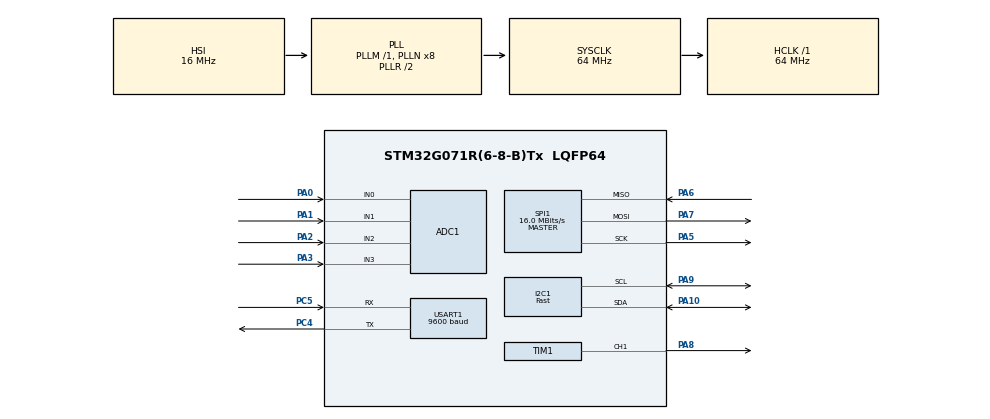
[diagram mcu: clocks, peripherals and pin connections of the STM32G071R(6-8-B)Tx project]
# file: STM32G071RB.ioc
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ADC1.Channel-0\#ChannelRegularConversion=ADC_CHANNEL_0
ADC1.Channel-1\#ChannelRegularConversion=ADC_CHANNEL_0
ADC1.Channel-2\#ChannelRegularConversion=ADC_CHANNEL_0
ADC1.Channel-3\#ChannelRegularConversion=ADC_CHANNEL_0
ADC1.ContinuousConvMode=ENABLE
ADC1.DMAContinuousRequests=ENABLE
ADC1.EOCSelection=ADC_EOC_SEQ_CONV
ADC1.NbrOfConversion=4
ADC1.NbrOfConversionFlag=1
ADC1.Rank-0\#ChannelRegularConversion=1
ADC1.Rank-1\#ChannelRegularConversion=2
ADC1.Rank-2\#ChannelRegularConversion=3
ADC1.Rank-3\#ChannelRegularConversion=4
ADC1.SamplingTime-0\#ChannelRegularConversion=ADC_SAMPLINGTIME_COMMON_1
ADC1.SamplingTime-1\#ChannelRegularConversion=ADC_SAMPLINGTIME_COMMON_1
ADC1.SamplingTime-2\#ChannelRegularConversion=ADC_SAMPLINGTIME_COMMON_1
ADC1.SamplingTime-3\#ChannelRegularConversion=ADC_SAMPLINGTIME_COMMON_1
ADC1.SelectedChannel=ADC_CHANNEL_0|ADC_CHANNEL_1|ADC_CHANNEL_2|ADC_CHANNEL_3
ADC1.master=1
Dma.ADC1.0.Direction=DMA_PERIPH_TO_MEMORY
Dma.ADC1.0.EventEnable=DISABLE
Dma.ADC1.0.Instance=DMA1_Channel1
Dma.ADC1.0.MemDataAlignment=DMA_MDATAALIGN_WORD
Dma.ADC1.0.MemInc=DMA_MINC_ENABLE
Dma.ADC1.0.Mode=DMA_CIRCULAR
Dma.ADC1.0.PeriphDataAlignment=DMA_PDATAALIGN_WORD
Dma.ADC1.0.PeriphInc=DMA_PINC_DISABLE
Dma.ADC1.0.Polarity=HAL_DMAMUX_REQ_GEN_RISING
Dma.ADC1.0.Priority=DMA_PRIORITY_MEDIUM
Dma.ADC1.0.RequestNumber=1
Dma.ADC1.0.SignalID=NONE
Dma.ADC1.0.SyncEnable=DISABLE
Dma.ADC1.0.SyncPolarity=HAL_DMAMUX_SYNC_NO_EVENT
Dma.ADC1.0.SyncRequestNumber=1
Dma.ADC1.0.SyncSignalID=NONE
Dma.Request0=ADC1
I2C1.I2C_Speed_Mode=I2C_Fast
I2C1.Timing=0x00602173
Mcu.Family=STM32G0
Mcu.Name=STM32G071R(6-8-B)Tx
Mcu.Package=LQFP64
NVIC.ADC1_COMP_IRQn=true\:0\:0\:false\:false\:true\:true\:true
NVIC.DMA1_Channel1_IRQn=true\:0\:0\:false\:false\:true\:false\:true
NVIC.I2C1_IRQn=true\:0\:0\:false\:false\:true\:true\:true
NVIC.SPI1_IRQn=true\:0\:0\:false\:false\:true\:true\:true
NVIC.TIM1_BRK_UP_TRG_COM_IRQn=true\:0\:0\:false\:false\:true\:true\:true
NVIC.TIM1_CC_IRQn=true\:0\:0\:false\:false\:true\:true\:true
NVIC.TIM3_IRQn=true\:0\:0\:false\:false\:true\:true\:true
NVIC.USART1_IRQn=true\:0\:0\:false\:false\:true\:true\:true
PA0.Mode=IN0
PA0.Signal=ADC1_IN0
PA1.Mode=IN1
PA1.Signal=ADC1_IN1
PA10.Mode=I2C
PA10.Signal=I2C1_SDA
PA13.Mode=Serial_Wire
PA13.Signal=SYS_SWDIO
PA14-BOOT0.Mode=Serial_Wire
PA14-BOOT0.Signal=SYS_SWCLK
PA2.Mode=IN2
PA2.Signal=ADC1_IN2
PA3.Mode=IN3
PA3.Signal=ADC1_IN3
PA5.Mode=Full_Duplex_Master
PA5.Signal=SPI1_SCK
PA6.Mode=Full_Duplex_Master
PA6.Signal=SPI1_MISO
PA7.Mode=Full_Duplex_Master
PA7.Signal=SPI1_MOSI
PA8.Signal=S_TIM1_CH1
PA9.Mode=I2C
PA9.Signal=I2C1_SCL
PC4.Mode=Asynchronous
PC4.Signal=USART1_TX
PC5.Mode=Asynchronous
PC5.Signal=USART1_RX
PF0-OSC_IN\ (PF0).Mode=HSE-External-Clock-Source
PF0-OSC_IN\ (PF0).Signal=RCC_OSC_IN
ProjectManager.HeapSize=0x200
ProjectManager.StackSize=0x400
ProjectManager.TargetToolchain=MDK-ARM V5
RCC.ADCFreq_Value=64000000
RCC.AHBFreq_Value=64000000
RCC.CortexFreq_Value=64000000
RCC.EXTERNAL_CLOCK_VALUE=48000
RCC.HCLKFreq_Value=64000000
RCC.HSE_VALUE=8000000
RCC.HSI_VALUE=16000000
RCC.LSE_VALUE=32768
RCC.SYSCLKFreq_VALUE=64000000
RCC.SYSCLKSource=RCC_SYSCLKSOURCE_PLLCLK
RCC.VCOOutputFreq_Value=128000000
SH.S_TIM1_CH1.0=TIM1_CH1,PWM Generation1 CH1
SPI1.BaudRatePrescaler=SPI_BAUDRATEPRESCALER_4
SPI1.CalculateBaudRate=16.0 MBits/s
SPI1.Direction=SPI_DIRECTION_2LINES
SPI1.Mode=SPI_MODE_MASTER
SPI1.VirtualType=VM_MASTER
TIM1.Channel-PWM\ Generation1\ CH1=TIM_CHANNEL_1
TIM1.Period=999
TIM1.Prescaler=159
TIM1.TIM_MasterOutputTrigger=TIM_TRGO_UPDATE
TIM1.TIM_MasterOutputTrigger2=TIM_TRGO2_UPDATE
TIM3.Period=100
TIM3.Prescaler=1599
TIM3.TIM_MasterOutputTrigger=TIM_TRGO_UPDATE
USART1.BaudRate=9600
USART1.VirtualMode-Asynchronous=VM_ASYNC
VP_SYS_VS_DBSignals.Mode=DisableDeadBatterySignals
VP_TIM3_VS_ClockSourceINT.Mode=Internal
board=custom

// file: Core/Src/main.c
/* USER CODE BEGIN Header */
/**
  ******************************************************************************
  * @file           : main.c
  * @brief          : Main program body
  ******************************************************************************
  * @attention
  *
  * <h2><center>&copy; Copyright (c) 2022 STMicroelectronics.
  * All rights reserved.</center></h2>
  *
  * This software component is licensed by ST under BSD 3-Clause license,
  * the "License"; You may not use this file except in compliance with the
  * License. You may obtain a copy of the License at:
  *                        opensource.org/licenses/BSD-3-Clause
  *
  ******************************************************************************
  */
/* USER CODE END Header */
#include "main.h"

/* USER CODE BEGIN PD */
#include "string.h"

/* USER CODE END PD */

ADC_HandleTypeDef hadc1;
DMA_HandleTypeDef hdma_adc1;

I2C_HandleTypeDef hi2c1;

SPI_HandleTypeDef hspi1;

TIM_HandleTypeDef htim1;
TIM_HandleTypeDef htim3;

UART_HandleTypeDef huart1;

/* USER CODE BEGIN PV */
uint32_t data[4];
uint32_t adcbuffer[4];
char data1[8]="";
char veri[8]="";
int sayi;
char buffer_tx[8]="";
char buffer_rx[8]="";

/* USER CODE END PV */

void SystemClock_Config(void);
static void MX_GPIO_Init(void);
static void MX_DMA_Init(void);
static void MX_ADC1_Init(void);
static void MX_I2C1_Init(void);
static void MX_SPI1_Init(void);
static void MX_TIM1_Init(void);
static void MX_TIM3_Init(void);
static void MX_USART1_UART_Init(void);
/* USER CODE BEGIN PFP */
void HAL_ADC_ConvCpltCallback(ADC_HandleTypeDef*hadc)
{
	if(hadc->Instance==ADC1)
	{
		data[0] = adcbuffer[0];
		data[1] = adcbuffer[1];
		data[2] = adcbuffer[2];
		data[3] = adcbuffer[3];
	}
}

/* USER CODE END PFP */

int main(void)
{

  /* MCU Configuration--------------------------------------------------------*/

  /* Reset of all peripherals, Initializes the Flash interface and the Systick. */
  HAL_Init();

  /* Configure the system clock */
  SystemClock_Config();

  /* Initialize all configured peripherals */
  MX_GPIO_Init();
  MX_DMA_Init();
  MX_ADC1_Init();
  MX_I2C1_Init();
  MX_SPI1_Init();
  MX_TIM1_Init();
  MX_TIM3_Init();
  MX_USART1_UART_Init();
  /* USER CODE BEGIN 2 */
HAL_ADC_Start_DMA(&hadc1, adcbuffer,4);
HAL_TIM_PWM_Start(&htim1,TIM_CHANNEL_1);
HAL_TIM_Base_Start_IT(&htim3);

  /* USER CODE END 2 */

  /* Infinite loop */
  while (1)
  {

    /* USER CODE BEGIN 3 */
		//uart
		sayi++;
		sprintf(data1,"\f%d\n\r", sayi);
		HAL_UART_Transmit(&huart1, (uint8_t*)data1, strlen(data1),1000);
		HAL_Delay(1000);

		HAL_UART_Receive(&huart1,(uint8_t*)veri,8,200);
		if(veri=="1")
		{
		}
		//pwm
		__HAL_TIM_SET_COMPARE(&htim1, TIM_CHANNEL_1, 200);

		//i2c
		HAL_I2C_Mem_Write(&hi2c1, 0x15, 0x45, 8, (uint8_t*)veri, 20,1);
		HAL_I2C_Mem_Read(&hi2c1, 0x45, 0x12, 8, (uint8_t*)veri, 20,1);

		//spi
		HAL_SPI_TransmitReceive(&hspi1, buffer_tx, buffer_rx,10,1000);
  }

  /* USER CODE END 3 */
}

void SystemClock_Config(void)
{
  RCC_OscInitTypeDef RCC_OscInitStruct = {0};
  RCC_ClkInitTypeDef RCC_ClkInitStruct = {0};
  RCC_PeriphCLKInitTypeDef PeriphClkInit = {0};

  /** Configure the main internal regulator output voltage
  */
  HAL_PWREx_ControlVoltageScaling(PWR_REGULATOR_VOLTAGE_SCALE1);
  /** Initializes the RCC Oscillators according to the specified parameters
  * in the RCC_OscInitTypeDef structure.
  */
  RCC_OscInitStruct.OscillatorType = RCC_OSCILLATORTYPE_HSI;
  RCC_OscInitStruct.HSIState = RCC_HSI_ON;
  RCC_OscInitStruct.HSIDiv = RCC_HSI_DIV1;
  RCC_OscInitStruct.HSICalibrationValue = RCC_HSICALIBRATION_DEFAULT;
  RCC_OscInitStruct.PLL.PLLState = RCC_PLL_ON;
  RCC_OscInitStruct.PLL.PLLSource = RCC_PLLSOURCE_HSI;
  RCC_OscInitStruct.PLL.PLLM = RCC_PLLM_DIV1;
  RCC_OscInitStruct.PLL.PLLN = 8;
  RCC_OscInitStruct.PLL.PLLP = RCC_PLLP_DIV2;
  RCC_OscInitStruct.PLL.PLLQ = RCC_PLLQ_DIV2;
  RCC_OscInitStruct.PLL.PLLR = RCC_PLLR_DIV2;
  if (HAL_RCC_OscConfig(&RCC_OscInitStruct) != HAL_OK)
  {
    Error_Handler();
  }
  /** Initializes the CPU, AHB and APB buses clocks
  */
  RCC_ClkInitStruct.ClockType = RCC_CLOCKTYPE_HCLK|RCC_CLOCKTYPE_SYSCLK
                              |RCC_CLOCKTYPE_PCLK1;
  RCC_ClkInitStruct.SYSCLKSource = RCC_SYSCLKSOURCE_PLLCLK;
  RCC_ClkInitStruct.AHBCLKDivider = RCC_SYSCLK_DIV1;
  RCC_ClkInitStruct.APB1CLKDivider = RCC_HCLK_DIV1;

  if (HAL_RCC_ClockConfig(&RCC_ClkInitStruct, FLASH_LATENCY_2) != HAL_OK)
  {
    Error_Handler();
  }
  /** Initializes the peripherals clocks
  */
  PeriphClkInit.PeriphClockSelection = RCC_PERIPHCLK_USART1|RCC_PERIPHCLK_I2C1
                              |RCC_PERIPHCLK_ADC|RCC_PERIPHCLK_TIM1;
  PeriphClkInit.Usart1ClockSelection = RCC_USART1CLKSOURCE_PCLK1;
  PeriphClkInit.I2c1ClockSelection = RCC_I2C1CLKSOURCE_PCLK1;
  PeriphClkInit.AdcClockSelection = RCC_ADCCLKSOURCE_SYSCLK;
  PeriphClkInit.Tim1ClockSelection = RCC_TIM1CLKSOURCE_PCLK1;
  if (HAL_RCCEx_PeriphCLKConfig(&PeriphClkInit) != HAL_OK)
  {
    Error_Handler();
  }
}

static void MX_ADC1_Init(void)
{

  ADC_ChannelConfTypeDef sConfig = {0};

  /** Configure the global features of the ADC (Clock, Resolution, Data Alignment and number of conversion)
  */
  hadc1.Instance = ADC1;
  hadc1.Init.ClockPrescaler = ADC_CLOCK_SYNC_PCLK_DIV4;
  hadc1.Init.Resolution = ADC_RESOLUTION_12B;
  hadc1.Init.DataAlign = ADC_DATAALIGN_RIGHT;
  hadc1.Init.ScanConvMode = ADC_SCAN_ENABLE;
  hadc1.Init.EOCSelection = ADC_EOC_SEQ_CONV;
  hadc1.Init.LowPowerAutoWait = DISABLE;
  hadc1.Init.LowPowerAutoPowerOff = DISABLE;
  hadc1.Init.ContinuousConvMode = ENABLE;
  hadc1.Init.NbrOfConversion = 4;
  hadc1.Init.DiscontinuousConvMode = DISABLE;
  hadc1.Init.ExternalTrigConv = ADC_SOFTWARE_START;
  hadc1.Init.ExternalTrigConvEdge = ADC_EXTERNALTRIGCONVEDGE_NONE;
  hadc1.Init.DMAContinuousRequests = ENABLE;
  hadc1.Init.Overrun = ADC_OVR_DATA_PRESERVED;
  hadc1.Init.SamplingTimeCommon1 = ADC_SAMPLETIME_1CYCLE_5;
  hadc1.Init.SamplingTimeCommon2 = ADC_SAMPLETIME_1CYCLE_5;
  hadc1.Init.OversamplingMode = DISABLE;
  hadc1.Init.TriggerFrequencyMode = ADC_TRIGGER_FREQ_HIGH;
  if (HAL_ADC_Init(&hadc1) != HAL_OK)
  {
    Error_Handler();
  }
  /** Configure Regular Channel
  */
  sConfig.Channel = ADC_CHANNEL_0;
  sConfig.Rank = ADC_REGULAR_RANK_1;
  sConfig.SamplingTime = ADC_SAMPLINGTIME_COMMON_1;
  if (HAL_ADC_ConfigChannel(&hadc1, &sConfig) != HAL_OK)
  {
    Error_Handler();
  }
  /** Configure Regular Channel
  */
  sConfig.Rank = ADC_REGULAR_RANK_2;
  if (HAL_ADC_ConfigChannel(&hadc1, &sConfig) != HAL_OK)
  {
    Error_Handler();
  }
  /** Configure Regular Channel
  */
  sConfig.Rank = ADC_REGULAR_RANK_3;
  if (HAL_ADC_ConfigChannel(&hadc1, &sConfig) != HAL_OK)
  {
    Error_Handler();
  }
  /** Configure Regular Channel
  */
  sConfig.Rank = ADC_REGULAR_RANK_4;
  if (HAL_ADC_ConfigChannel(&hadc1, &sConfig) != HAL_OK)
  {
    Error_Handler();
  }

}

static void MX_I2C1_Init(void)
{

  hi2c1.Instance = I2C1;
  hi2c1.Init.Timing = 0x00602173;
  hi2c1.Init.OwnAddress1 = 0;
  hi2c1.Init.AddressingMode = I2C_ADDRESSINGMODE_7BIT;
  hi2c1.Init.DualAddressMode = I2C_DUALADDRESS_DISABLE;
  hi2c1.Init.OwnAddress2 = 0;
  hi2c1.Init.OwnAddress2Masks = I2C_OA2_NOMASK;
  hi2c1.Init.GeneralCallMode = I2C_GENERALCALL_DISABLE;
  hi2c1.Init.NoStretchMode = I2C_NOSTRETCH_DISABLE;
  if (HAL_I2C_Init(&hi2c1) != HAL_OK)
  {
    Error_Handler();
  }
  /** Configure Analogue filter
  */
  if (HAL_I2CEx_ConfigAnalogFilter(&hi2c1, I2C_ANALOGFILTER_ENABLE) != HAL_OK)
  {
    Error_Handler();
  }
  /** Configure Digital filter
  */
  if (HAL_I2CEx_ConfigDigitalFilter(&hi2c1, 0) != HAL_OK)
  {
    Error_Handler();
  }

}

static void MX_SPI1_Init(void)
{

  /* SPI1 parameter configuration*/
  hspi1.Instance = SPI1;
  hspi1.Init.Mode = SPI_MODE_MASTER;
  hspi1.Init.Direction = SPI_DIRECTION_2LINES;
  hspi1.Init.DataSize = SPI_DATASIZE_4BIT;
  hspi1.Init.CLKPolarity = SPI_POLARITY_LOW;
  hspi1.Init.CLKPhase = SPI_PHASE_1EDGE;
  hspi1.Init.NSS = SPI_NSS_SOFT;
  hspi1.Init.BaudRatePrescaler = SPI_BAUDRATEPRESCALER_4;
  hspi1.Init.FirstBit = SPI_FIRSTBIT_MSB;
  hspi1.Init.TIMode = SPI_TIMODE_DISABLE;
  hspi1.Init.CRCCalculation = SPI_CRCCALCULATION_DISABLE;
  hspi1.Init.CRCPolynomial = 7;
  hspi1.Init.CRCLength = SPI_CRC_LENGTH_DATASIZE;
  hspi1.Init.NSSPMode = SPI_NSS_PULSE_ENABLE;
  if (HAL_SPI_Init(&hspi1) != HAL_OK)
  {
    Error_Handler();
  }

}

static void MX_TIM1_Init(void)
{

  TIM_MasterConfigTypeDef sMasterConfig = {0};
  TIM_OC_InitTypeDef sConfigOC = {0};
  TIM_BreakDeadTimeConfigTypeDef sBreakDeadTimeConfig = {0};

  htim1.Instance = TIM1;
  htim1.Init.Prescaler = 159;
  htim1.Init.CounterMode = TIM_COUNTERMODE_UP;
  htim1.Init.Period = 999;
  htim1.Init.ClockDivision = TIM_CLOCKDIVISION_DIV1;
  htim1.Init.RepetitionCounter = 0;
  htim1.Init.AutoReloadPreload = TIM_AUTORELOAD_PRELOAD_DISABLE;
  if (HAL_TIM_PWM_Init(&htim1) != HAL_OK)
  {
    Error_Handler();
  }
  sMasterConfig.MasterOutputTrigger = TIM_TRGO_UPDATE;
  sMasterConfig.MasterOutputTrigger2 = TIM_TRGO2_UPDATE;
  sMasterConfig.MasterSlaveMode = TIM_MASTERSLAVEMODE_DISABLE;
  if (HAL_TIMEx_MasterConfigSynchronization(&htim1, &sMasterConfig) != HAL_OK)
  {
    Error_Handler();
  }
  sConfigOC.OCMode = TIM_OCMODE_PWM1;
  sConfigOC.Pulse = 0;
  sConfigOC.OCPolarity = TIM_OCPOLARITY_HIGH;
  sConfigOC.OCNPolarity = TIM_OCNPOLARITY_HIGH;
  sConfigOC.OCFastMode = TIM_OCFAST_DISABLE;
  sConfigOC.OCIdleState = TIM_OCIDLESTATE_RESET;
  sConfigOC.OCNIdleState = TIM_OCNIDLESTATE_RESET;
  if (HAL_TIM_PWM_ConfigChannel(&htim1, &sConfigOC, TIM_CHANNEL_1) != HAL_OK)
  {
    Error_Handler();
  }
  sBreakDeadTimeConfig.OffStateRunMode = TIM_OSSR_DISABLE;
  sBreakDeadTimeConfig.OffStateIDLEMode = TIM_OSSI_DISABLE;
  sBreakDeadTimeConfig.LockLevel = TIM_LOCKLEVEL_OFF;
  sBreakDeadTimeConfig.DeadTime = 0;
  sBreakDeadTimeConfig.BreakState = TIM_BREAK_DISABLE;
  sBreakDeadTimeConfig.BreakPolarity = TIM_BREAKPOLARITY_HIGH;
  sBreakDeadTimeConfig.BreakFilter = 0;
  sBreakDeadTimeConfig.BreakAFMode = TIM_BREAK_AFMODE_INPUT;
  sBreakDeadTimeConfig.Break2State = TIM_BREAK2_DISABLE;
  sBreakDeadTimeConfig.Break2Polarity = TIM_BREAK2POLARITY_HIGH;
  sBreakDeadTimeConfig.Break2Filter = 0;
  sBreakDeadTimeConfig.Break2AFMode = TIM_BREAK_AFMODE_INPUT;
  sBreakDeadTimeConfig.AutomaticOutput = TIM_AUTOMATICOUTPUT_DISABLE;
  if (HAL_TIMEx_ConfigBreakDeadTime(&htim1, &sBreakDeadTimeConfig) != HAL_OK)
  {
    Error_Handler();
  }
  HAL_TIM_MspPostInit(&htim1);

}

static void MX_TIM3_Init(void)
{

  TIM_ClockConfigTypeDef sClockSourceConfig = {0};
  TIM_MasterConfigTypeDef sMasterConfig = {0};

  htim3.Instance = TIM3;
  htim3.Init.Prescaler = 1599;
  htim3.Init.CounterMode = TIM_COUNTERMODE_UP;
  htim3.Init.Period = 100;
  htim3.Init.ClockDivision = TIM_CLOCKDIVISION_DIV1;
  htim3.Init.AutoReloadPreload = TIM_AUTORELOAD_PRELOAD_DISABLE;
  if (HAL_TIM_Base_Init(&htim3) != HAL_OK)
  {
    Error_Handler();
  }
  sClockSourceConfig.ClockSource = TIM_CLOCKSOURCE_INTERNAL;
  if (HAL_TIM_ConfigClockSource(&htim3, &sClockSourceConfig) != HAL_OK)
  {
    Error_Handler();
  }
  sMasterConfig.MasterOutputTrigger = TIM_TRGO_UPDATE;
  sMasterConfig.MasterSlaveMode = TIM_MASTERSLAVEMODE_DISABLE;
  if (HAL_TIMEx_MasterConfigSynchronization(&htim3, &sMasterConfig) != HAL_OK)
  {
    Error_Handler();
  }

}

static void MX_USART1_UART_Init(void)
{

  huart1.Instance = USART1;
  huart1.Init.BaudRate = 9600;
  huart1.Init.WordLength = UART_WORDLENGTH_8B;
  huart1.Init.StopBits = UART_STOPBITS_1;
  huart1.Init.Parity = UART_PARITY_NONE;
  huart1.Init.Mode = UART_MODE_TX_RX;
  huart1.Init.HwFlowCtl = UART_HWCONTROL_NONE;
  huart1.Init.OverSampling = UART_OVERSAMPLING_16;
  huart1.Init.OneBitSampling = UART_ONE_BIT_SAMPLE_DISABLE;
  huart1.Init.ClockPrescaler = UART_PRESCALER_DIV1;
  huart1.AdvancedInit.AdvFeatureInit = UART_ADVFEATURE_NO_INIT;
  if (HAL_UART_Init(&huart1) != HAL_OK)
  {
    Error_Handler();
  }
  if (HAL_UARTEx_SetTxFifoThreshold(&huart1, UART_TXFIFO_THRESHOLD_1_8) != HAL_OK)
  {
    Error_Handler();
  }
  if (HAL_UARTEx_SetRxFifoThreshold(&huart1, UART_RXFIFO_THRESHOLD_1_8) != HAL_OK)
  {
    Error_Handler();
  }
  if (HAL_UARTEx_DisableFifoMode(&huart1) != HAL_OK)
  {
    Error_Handler();
  }

}

static void MX_DMA_Init(void)
{

  /* DMA controller clock enable */
  __HAL_RCC_DMA1_CLK_ENABLE();

  /* DMA interrupt init */
  /* DMA1_Channel1_IRQn interrupt configuration */
  HAL_NVIC_SetPriority(DMA1_Channel1_IRQn, 0, 0);
  HAL_NVIC_EnableIRQ(DMA1_Channel1_IRQn);

}

static void MX_GPIO_Init(void)
{

  /* GPIO Ports Clock Enable */
  __HAL_RCC_GPIOF_CLK_ENABLE();
  __HAL_RCC_GPIOA_CLK_ENABLE();
  __HAL_RCC_GPIOC_CLK_ENABLE();

}

void Error_Handler(void)
{
  __disable_irq();
  while (1)
  {
  }
}

/************************ (C) COPYRIGHT STMicroelectronics *****END OF FILE****/
